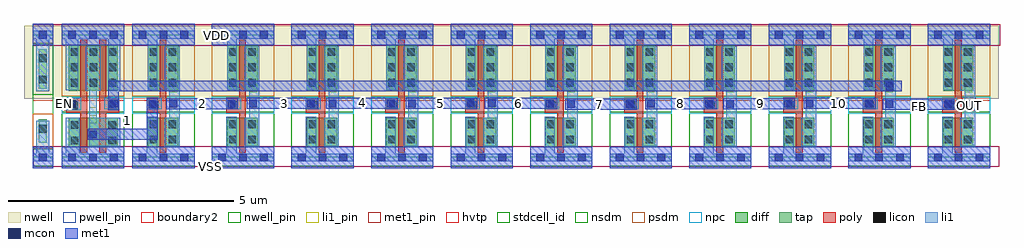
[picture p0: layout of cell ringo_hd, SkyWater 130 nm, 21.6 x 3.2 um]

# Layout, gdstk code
import gdstk
lib = gdstk.Library(unit=1e-6, precision=1e-08)
def R(c, l, rs):  # rectangles x0, y0, x1, y1
    for r in rs: c.add(gdstk.rectangle(r[:2], r[2:], *l))
def A(c, l, x, y, w, h, nx, ny, dx, dy):  # array of equal rectangles
    R(c, l, [(x+i*dx, y+j*dy, x+i*dx+w, y+j*dy+h) for i in range(nx) for j in range(ny)])
def P(c, l, *ps):  # polygons
    for p in ps: c.add(gdstk.Polygon(p, *l))
nwell_pin = (64, 16)
nwell = (64, 20)
diff = (65, 20)
tap = (65, 44)
poly = (66, 20)
licon = (66, 44)
li1_pin = (67, 16)
li1 = (67, 20)
mcon = (67, 44)
met1_pin = (68, 16)
met1 = (68, 20)
hvtp = (78, 44)
stdcell_id = (81, 4)
nsdm = (93, 44)
psdm = (94, 20)
npc = (95, 20)
pwell_pin = (122, 16)
boundary2 = (236, 0)

sky130_fd_sc_hd__tapvpwr = lib.new_cell('sky130_fd_sc_hd__tapvpwrvgnd_1')
R(sky130_fd_sc_hd__tapvpwr, nwell, [(-0.19,1.3,0.65,2.91)])
R(sky130_fd_sc_hd__tapvpwr, tap, [(0.14,0.32,0.31,0.84), (0.14,1.52,0.31,2.4)])
R(sky130_fd_sc_hd__tapvpwr, licon, [(0.14,0.55,0.31,0.72), (0.14,1.64,0.31,1.81), (0.14,2.11,0.31,2.28)])
R(sky130_fd_sc_hd__tapvpwr, li1, [(0,-0.08,0.46,0.08), (0.08,0,0.37,0.81), (0.08,1.47,0.37,2.72), (0,2.63,0.46,2.8)])
R(sky130_fd_sc_hd__tapvpwr, mcon, [(0.14,-0.08,0.31,0.08), (0.14,2.63,0.31,2.8)])
R(sky130_fd_sc_hd__tapvpwr, met1_pin, [(0.1,-0.09,0.36,0.1), (0.11,2.62,0.37,2.76)])
R(sky130_fd_sc_hd__tapvpwr, met1, [(0,-0.24,0.46,0.24), (0,2.48,0.46,2.96)])
R(sky130_fd_sc_hd__tapvpwr, hvtp, [(0,1.25,0.46,2.72)])
R(sky130_fd_sc_hd__tapvpwr, stdcell_id, [(0,0,0.46,2.72)])
R(sky130_fd_sc_hd__tapvpwr, nsdm, [(0,-0.19,0.46,0.19), (0,1.39,0.46,2.53)])
R(sky130_fd_sc_hd__tapvpwr, psdm, [(0,0.19,0.46,0.97), (0,2.53,0.46,2.91)])
sky130_fd_sc_hd__tapvpwr.add(gdstk.Label('VPWR', (0.23,2.72), layer=68, texttype=5))
sky130_fd_sc_hd__tapvpwr.add(gdstk.Label('VGND', (0.23,0), layer=68, texttype=5))
sky130_fd_sc_hd__tapvpwr.add(gdstk.Label('tapvpwrvgnd_1', (0,0), layer=83, texttype=44))

sky130_fd_sc_hd__nand2_1 = lib.new_cell('sky130_fd_sc_hd__nand2_1')
R(sky130_fd_sc_hd__nand2_1, nwell_pin, [(0.14,2.63,0.31,2.8)])
R(sky130_fd_sc_hd__nand2_1, nwell, [(-0.19,1.3,1.57,2.91)])
R(sky130_fd_sc_hd__nand2_1, diff, [(0.15,0.23,1.24,0.88), (0.15,1.48,1.24,2.48)])
P(sky130_fd_sc_hd__nand2_1, poly, [(0.83,0.1),(0.83,2.61),(0.98,2.61),(0.98,1.32),(1.27,1.32),(1.27,0.99),(0.98,0.99),(0.98,0.1)],
  [(0.41,0.1),(0.41,0.99),(0.1,0.99),(0.1,1.32),(0.41,1.32),(0.41,2.61),(0.56,2.61),(0.56,0.1)])
A(sky130_fd_sc_hd__nand2_1, licon, 0.19, 1.57, 0.17, 0.17, 3, 3, 0.42, 0.34)
R(sky130_fd_sc_hd__nand2_1, licon, [(0.19,0.29,0.36,0.46), (1.03,0.29,1.2,0.46), (0.19,0.63,0.36,0.8), (1.03,0.63,1.2,0.8), (0.18,1.07,0.35,1.24), (1.02,1.07,1.19,1.24)])
A(sky130_fd_sc_hd__nand2_1, li1_pin, 0.14, 1.1, 0.17, 0.17, 3, 1, 0.46, 0)
R(sky130_fd_sc_hd__nand2_1, li1_pin, [(0.6,0.42,0.77,0.59), (0.6,0.76,0.77,0.93)])
R(sky130_fd_sc_hd__nand2_1, li1, [(0.09,1.05,0.43,1.32), (0.94,1.07,1.27,1.32)])
P(sky130_fd_sc_hd__nand2_1, li1, [(0,-0.08),(0,0.08),(0.08,0.08),(0.08,0.88),(0.39,0.88),(0.39,0.08),(1.38,0.08),(1.38,-0.08)],
  [(0.08,1.49),(0.08,2.63),(0,2.63),(0,2.8),(1.38,2.8),(1.38,2.63),(1.29,2.63),(1.29,1.49),(1.03,1.49),(1.03,2.63),(0.36,2.63),(0.36,1.49)],
  [(0.6,0.25),(0.6,1.48),(0.53,1.48),(0.53,2.46),(0.86,2.46),(0.86,1.48),(0.77,1.48),(0.77,0.88),(1.29,0.88),(1.29,0.25)])
A(sky130_fd_sc_hd__nand2_1, mcon, 0.14, -0.08, 0.17, 0.16, 3, 1, 0.46, 0)
A(sky130_fd_sc_hd__nand2_1, mcon, 0.14, 2.63, 0.17, 0.17, 3, 1, 0.46, 0)
R(sky130_fd_sc_hd__nand2_1, met1_pin, [(0.14,-0.08,0.31,0.08), (0.14,2.63,0.31,2.8)])
R(sky130_fd_sc_hd__nand2_1, hvtp, [(0,1.25,1.38,2.72)])
R(sky130_fd_sc_hd__nand2_1, stdcell_id, [(0,0,1.38,2.72)])
R(sky130_fd_sc_hd__nand2_1, nsdm, [(0,-0.19,1.38,1.01)])
R(sky130_fd_sc_hd__nand2_1, psdm, [(0,1.35,1.38,2.91)])
R(sky130_fd_sc_hd__nand2_1, npc, [(0,0.97,1.38,1.34)])
R(sky130_fd_sc_hd__nand2_1, pwell_pin, [(0.14,-0.08,0.31,0.08)])
R(sky130_fd_sc_hd__nand2_1, boundary2, [(0,0,1.38,2.72)])
sky130_fd_sc_hd__nand2_1.add(gdstk.FlexPath([(0,2.72),(1.38,2.72)], 0.48, ends="flush", simple_path=True, layer=68, datatype=20))  # met1
sky130_fd_sc_hd__nand2_1.add(gdstk.FlexPath([(0,0),(1.38,0)], 0.48, ends="flush", simple_path=True, layer=68, datatype=20))  # met1
sky130_fd_sc_hd__nand2_1.add(gdstk.Label('VGND', (0.23,0), layer=68, texttype=5))
sky130_fd_sc_hd__nand2_1.add(gdstk.Label('VPWR', (0.22,2.72), layer=68, texttype=5))
sky130_fd_sc_hd__nand2_1.add(gdstk.Label('nand2_1', (0,0), layer=83, texttype=44))
sky130_fd_sc_hd__nand2_1.add(gdstk.Label('Y', (0.68,0.51), layer=67, texttype=5))
sky130_fd_sc_hd__nand2_1.add(gdstk.Label('Y', (0.68,0.85), layer=67, texttype=5))
sky130_fd_sc_hd__nand2_1.add(gdstk.Label('Y', (0.68,1.19), layer=67, texttype=5))
sky130_fd_sc_hd__nand2_1.add(gdstk.Label('B', (0.22,1.19), layer=67, texttype=5))
sky130_fd_sc_hd__nand2_1.add(gdstk.Label('A', (1.14,1.19), layer=67, texttype=5))
sky130_fd_sc_hd__nand2_1.add(gdstk.Label('VNB', (0.22,0), layer=64, texttype=59))
sky130_fd_sc_hd__nand2_1.add(gdstk.Label('VPB', (0.22,2.72), layer=64, texttype=5))

sky130_fd_sc_hd__inv_1 = lib.new_cell('sky130_fd_sc_hd__inv_1')
R(sky130_fd_sc_hd__inv_1, nwell_pin, [(0.14,2.63,0.31,2.8), (0.14,2.63,0.31,2.8)])
R(sky130_fd_sc_hd__inv_1, nwell, [(-0.19,1.3,1.57,2.91)])
R(sky130_fd_sc_hd__inv_1, diff, [(0.34,0.23,1.01,0.88), (0.34,1.48,1.01,2.48)])
P(sky130_fd_sc_hd__inv_1, poly, [(0.6,0.1),(0.6,0.99),(0.32,0.99),(0.32,1.32),(0.6,1.32),(0.6,2.61),(0.75,2.61),(0.75,0.1)])
A(sky130_fd_sc_hd__inv_1, licon, 0.38, 1.57, 0.17, 0.17, 1, 3, 0, 0.34)
A(sky130_fd_sc_hd__inv_1, licon, 0.8, 1.57, 0.17, 0.17, 1, 3, 0, 0.34)
R(sky130_fd_sc_hd__inv_1, licon, [(0.38,0.31,0.55,0.48), (0.8,0.31,0.97,0.48), (0.38,0.65,0.55,0.82), (0.8,0.65,0.97,0.82), (0.4,1.07,0.57,1.24)])
R(sky130_fd_sc_hd__inv_1, li1_pin, [(0.36,1.1,0.53,1.27), (0.82,1.1,0.99,1.27), (0.82,1.44,0.99,1.61)])
R(sky130_fd_sc_hd__inv_1, li1, [(0,-0.08,1.38,0.08), (0.32,0,0.55,0.9), (0.32,1.07,0.65,1.31), (0.34,1.49,0.55,2.67), (0,2.63,1.38,2.8)])
P(sky130_fd_sc_hd__inv_1, li1, [(0.72,0.25),(0.72,0.88),(0.82,0.88),(0.82,1.48),(0.72,1.48),(0.72,2.46),(1.05,2.46),(1.05,0.25)])
A(sky130_fd_sc_hd__inv_1, mcon, 0.14, -0.08, 0.17, 0.16, 3, 1, 0.46, 0)
A(sky130_fd_sc_hd__inv_1, mcon, 0.14, 2.63, 0.17, 0.17, 3, 1, 0.46, 0)
R(sky130_fd_sc_hd__inv_1, met1_pin, [(0.14,-0.08,0.31,0.08), (0.14,-0.08,0.31,0.08), (0.14,2.63,0.31,2.8), (0.14,2.63,0.31,2.8)])
R(sky130_fd_sc_hd__inv_1, hvtp, [(0,1.25,1.38,2.72)])
R(sky130_fd_sc_hd__inv_1, stdcell_id, [(0,0,1.38,2.72)])
R(sky130_fd_sc_hd__inv_1, nsdm, [(0,-0.19,1.38,1.01)])
R(sky130_fd_sc_hd__inv_1, psdm, [(0,1.35,1.38,2.91)])
R(sky130_fd_sc_hd__inv_1, npc, [(0,0.97,1.38,1.34)])
R(sky130_fd_sc_hd__inv_1, pwell_pin, [(0.14,-0.08,0.31,0.08), (0.14,-0.08,0.31,0.08)])
R(sky130_fd_sc_hd__inv_1, boundary2, [(0,0,1.38,2.72)])
sky130_fd_sc_hd__inv_1.add(gdstk.FlexPath([(0,2.72),(1.38,2.72)], 0.48, ends="flush", simple_path=True, layer=68, datatype=20))  # met1
sky130_fd_sc_hd__inv_1.add(gdstk.FlexPath([(0,0),(1.38,0)], 0.48, ends="flush", simple_path=True, layer=68, datatype=20))  # met1
sky130_fd_sc_hd__inv_1.add(gdstk.Label('VGND', (0.23,0), layer=68, texttype=5))
sky130_fd_sc_hd__inv_1.add(gdstk.Label('VPWR', (0.23,2.72), layer=68, texttype=5))
sky130_fd_sc_hd__inv_1.add(gdstk.Label('inv_1', (0,0), layer=83, texttype=44))
sky130_fd_sc_hd__inv_1.add(gdstk.Label('Y', (0.9,1.53), layer=67, texttype=5))
sky130_fd_sc_hd__inv_1.add(gdstk.Label('Y', (0.9,1.19), layer=67, texttype=5))
sky130_fd_sc_hd__inv_1.add(gdstk.Label('A', (0.44,1.19), layer=67, texttype=5))
sky130_fd_sc_hd__inv_1.add(gdstk.Label('VNB', (0.23,0), layer=64, texttype=59))
sky130_fd_sc_hd__inv_1.add(gdstk.Label('VPB', (0.23,2.72), layer=64, texttype=5))

ringo_hd = lib.new_cell('ringo_hd')
R(ringo_hd, mcon, [(-10.24,10.08,-10.07,10.25), (-10.71,10.76,-10.54,10.93), (-8.92,10.76,-8.75,10.93), (-7.17,10.76,-7,10.93), (0.34,10.76,0.51,10.93), (1.64,10.76,1.81,10.93), (3.4,10.76,3.57,10.93), (3.86,10.76,4.03,10.93), (7.39,10.76,7.56,10.93), (8.69,10.76,8.86,10.93), (9.14,10.76,9.31,10.93), (-9.78,10.77,-9.61,10.94), (-8.46,10.77,-8.29,10.94), (-6.7,10.77,-6.53,10.94), (-5.41,10.77,-5.24,10.94), (-4.94,10.77,-4.77,10.94), (-3.65,10.77,-3.48,10.94), (-3.18,10.77,-3.01,10.94), (-0.13,10.77,0.04,10.94), (2.11,10.77,2.28,10.94), (5.15,10.77,5.32,10.94), (5.62,10.77,5.79,10.94), (6.93,10.77,7.1,10.94), (-1.88,10.78,-1.71,10.95), (-1.41,10.78,-1.24,10.95), (7.39,11.15,7.56,11.32)])
R(ringo_hd, met1_pin, [(-11.47,9.45,9.9,9.91), (9.08,10.69,9.38,10.99), (-10.79,10.7,-10.49,11), (-11.49,12.13,9.92,12.61)])
ringo_hd.add(gdstk.FlexPath([(-10.27,10.17),(-8.84,10.17),(-8.84,10.97)], 0.24, ends="flush", simple_path=True, layer=68, datatype=20))  # met1
ringo_hd.add(gdstk.FlexPath([(7.75,11.24),(-9.7,11.24),(-9.7,10.7)], 0.24, ends="flush", simple_path=True, layer=68, datatype=20))  # met1
ringo_hd.add(gdstk.FlexPath([(-4.99,10.86),(-3.41,10.86)], 0.24, ends="flush", simple_path=True, layer=68, datatype=20))  # met1
ringo_hd.add(gdstk.FlexPath([(-8.53,10.85),(-6.95,10.85)], 0.24, ends="flush", simple_path=True, layer=68, datatype=20))  # met1
ringo_hd.add(gdstk.FlexPath([(-6.75,10.86),(-5.17,10.86)], 0.24, ends="flush", simple_path=True, layer=68, datatype=20))  # met1
ringo_hd.add(gdstk.FlexPath([(-3.23,10.86),(-1.65,10.86)], 0.24, ends="flush", simple_path=True, layer=68, datatype=20))  # met1
ringo_hd.add(gdstk.FlexPath([(-1.48,10.86),(0.12,10.86)], 0.24, ends="flush", simple_path=True, layer=68, datatype=20))  # met1
ringo_hd.add(gdstk.FlexPath([(0.3,10.84),(1.88,10.84)], 0.24, ends="flush", simple_path=True, layer=68, datatype=20))  # met1
ringo_hd.add(gdstk.FlexPath([(2.07,10.85),(3.65,10.85)], 0.24, ends="flush", simple_path=True, layer=68, datatype=20))  # met1
ringo_hd.add(gdstk.FlexPath([(3.79,10.85),(5.38,10.85)], 0.24, ends="flush", simple_path=True, layer=68, datatype=20))  # met1
ringo_hd.add(gdstk.FlexPath([(5.58,10.86),(7.17,10.86)], 0.24, ends="flush", simple_path=True, layer=68, datatype=20))  # met1
ringo_hd.add(gdstk.FlexPath([(7.32,10.84),(8.91,10.84)], 0.24, ends="flush", simple_path=True, layer=68, datatype=20))  # met1
ringo_hd.add(gdstk.Reference(sky130_fd_sc_hd__tapvpwr, (-11.49,9.66)))
ringo_hd.add(gdstk.Reference(sky130_fd_sc_hd__nand2_1, (-10.84,9.66)))
r = gdstk.Reference(sky130_fd_sc_hd__inv_1, (-9.28,9.66)); r.repetition = gdstk.Repetition(11, 1, v1=(1.76,0), v2=(0,0)); ringo_hd.add(r)
ringo_hd.add(gdstk.Label('VDD', (-7.43,12.35), layer=68, texttype=16))
ringo_hd.add(gdstk.Label('VSS', (-7.55,9.45), layer=68, texttype=16))
ringo_hd.add(gdstk.Label('EN', (-10.79,10.85), layer=68, texttype=16))
ringo_hd.add(gdstk.Label('OUT', (9.25,10.8), layer=68, texttype=16))
ringo_hd.add(gdstk.Label('1', (-9.4,10.48), layer=68, texttype=20))
ringo_hd.add(gdstk.Label('2', (-7.73,10.85), layer=68, texttype=20))
ringo_hd.add(gdstk.Label('3', (-5.91,10.86), layer=68, texttype=20))
ringo_hd.add(gdstk.Label('4', (-4.18,10.87), layer=68, texttype=20))
ringo_hd.add(gdstk.Label('5', (-2.46,10.86), layer=68, texttype=20))
ringo_hd.add(gdstk.Label('6', (-0.73,10.86), layer=68, texttype=20))
ringo_hd.add(gdstk.Label('7', (1.06,10.84), layer=68, texttype=20))
ringo_hd.add(gdstk.Label('8', (2.85,10.85), layer=68, texttype=20))
ringo_hd.add(gdstk.Label('9', (4.63,10.85), layer=68, texttype=20))
ringo_hd.add(gdstk.Label('10', (6.34,10.86), layer=68, texttype=20))
ringo_hd.add(gdstk.Label('FB', (8.14,10.79), layer=68, texttype=20))

lib.write_gds('ringo_hd.gds')
